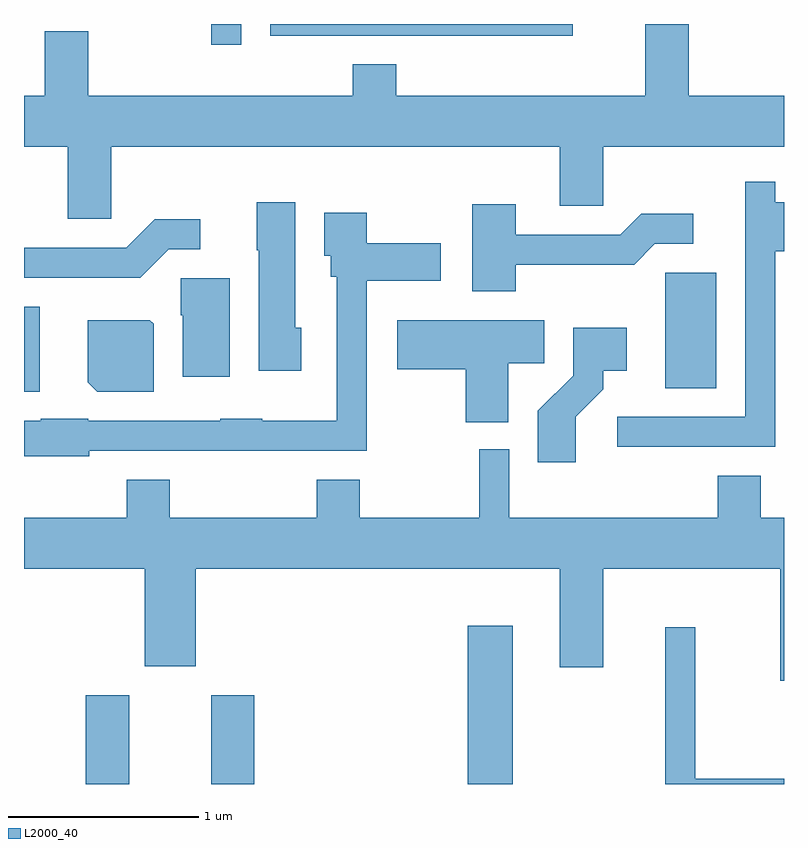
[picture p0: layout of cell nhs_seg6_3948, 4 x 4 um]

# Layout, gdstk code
import gdstk
lib = gdstk.Library(unit=1e-6, precision=1e-09)
def R(c, l, rs):  # rectangles x0, y0, x1, y1
    for r in rs: c.add(gdstk.rectangle(r[:2], r[2:], *l))
def P(c, l, *ps):  # polygons
    for p in ps: c.add(gdstk.Polygon(p, *l))
L2000_40 = (2000, 40)

nhs_seg6_3948 = lib.new_cell('nhs_seg6_3948')
R(nhs_seg6_3948, L2000_40, [(303.936,1622.162,304.164,1622.629), (304.596,1622.162,304.824,1622.629), (305.946,1622.162,306.184,1622.994), (303.611,1624.226,303.694,1624.674), (306.986,1624.246,307.254,1624.854), (304.596,1626.053,304.754,1626.162), (304.906,1626.101,306.499,1626.162)])
P(nhs_seg6_3948, L2000_40, [(304.069,1625.516),(306.431,1625.516),(306.431,1625.206),(306.659,1625.206),(306.659,1625.516),(307.611,1625.516),(307.611,1625.784),(307.109,1625.784),(307.109,1626.162),(306.881,1626.162),(306.881,1625.784),(305.569,1625.784),(305.569,1625.949),(305.341,1625.949),(305.341,1625.784),(303.949,1625.784),(303.949,1626.124),(303.721,1626.124),(303.721,1625.784),(303.611,1625.784),(303.611,1625.516),(303.841,1625.516),(303.841,1625.136),(304.069,1625.136)],
  [(307.564,1624.966),(307.611,1624.966),(307.611,1625.224),(307.564,1625.224),(307.564,1625.333),(307.406,1625.333),(307.406,1624.094),(306.733,1624.094),(306.733,1623.936),(307.564,1623.936)],
  [(305.069,1624.564),(305.039,1624.564),(305.039,1625.224),(304.836,1625.224),(304.836,1624.97),(304.846,1624.97),(304.846,1624.336),(305.069,1624.336)],
  [(306.199,1624.896),(306.822,1624.896),(306.932,1625.006),(307.133,1625.006),(307.133,1625.164),(306.859,1625.164),(306.749,1625.054),(306.199,1625.054),(306.199,1625.214),(305.971,1625.214),(305.971,1624.756),(306.199,1624.756)],
  [(303.954,1623.916),(305.414,1623.916),(305.414,1624.811),(305.804,1624.811),(305.804,1625.009),(305.414,1625.009),(305.414,1625.169),(305.191,1625.169),(305.191,1624.941),(305.226,1624.941),(305.226,1624.831),(305.256,1624.831),(305.256,1624.074),(304.865,1624.074),(304.865,1624.084),(304.645,1624.084),(304.645,1624.074),(303.95,1624.074),(303.95,1624.084),(303.7,1624.084),(303.7,1624.074),(303.611,1624.074),(303.611,1623.886),(303.954,1623.886)],
  [(304.372,1624.976),(304.538,1624.976),(304.538,1625.134),(304.299,1625.134),(304.149,1624.984),(303.611,1624.984),(303.611,1624.826),(304.222,1624.826)],
  [(304.694,1624.824),(304.436,1624.824),(304.436,1624.63),(304.446,1624.63),(304.446,1624.306),(304.694,1624.306)],
  [(306.159,1624.376),(306.349,1624.376),(306.349,1624.604),(305.576,1624.604),(305.576,1624.346),(305.936,1624.346),(305.936,1624.066),(306.159,1624.066)],
  [(304.294,1624.584),(304.274,1624.604),(303.946,1624.604),(303.946,1624.277),(303.997,1624.226),(304.294,1624.226)],
  [(306.514,1624.094),(306.659,1624.239),(306.659,1624.336),(306.784,1624.336),(306.784,1624.564),(306.501,1624.564),(306.501,1624.312),(306.316,1624.127),(306.316,1623.856),(306.514,1623.856)],
  [(307.611,1623.564),(307.489,1623.564),(307.489,1623.784),(307.261,1623.784),(307.261,1623.564),(306.164,1623.564),(306.164,1623.923),(306.006,1623.923),(306.006,1623.564),(305.379,1623.564),(305.379,1623.764),(305.151,1623.764),(305.151,1623.564),(304.379,1623.564),(304.379,1623.764),(304.151,1623.764),(304.151,1623.564),(303.611,1623.564),(303.611,1623.296),(304.246,1623.296),(304.246,1622.781),(304.514,1622.781),(304.514,1623.296),(306.431,1623.296),(306.431,1622.776),(306.659,1622.776),(306.659,1623.296),(307.591,1623.296),(307.591,1622.706),(307.611,1622.706)],
  [(307.611,1622.189),(307.144,1622.189),(307.144,1622.988),(306.986,1622.988),(306.986,1622.162),(307.611,1622.162)])

lib.write_gds('nhs_seg6_3948.gds')
